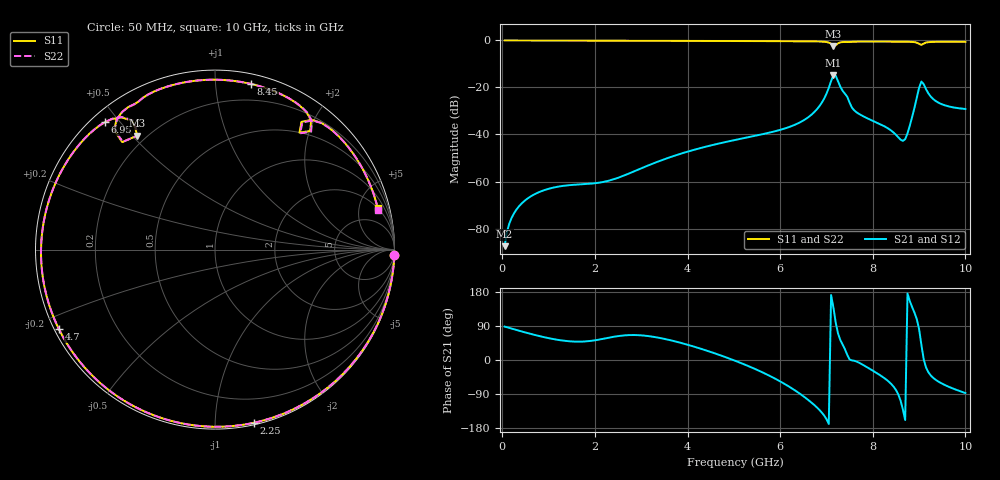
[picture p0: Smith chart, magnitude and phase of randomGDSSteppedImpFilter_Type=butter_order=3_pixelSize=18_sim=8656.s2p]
! freq	dB(S11)	phase(S11)	dB(S12)	phase(S12)
!  dB(S21)	phase(S21)	dB(S22)	phase(S22)
!S-par simulation data
#  GHz  S  DB  R 50
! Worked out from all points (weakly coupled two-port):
!   200 points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, 50 MHz to 10 GHz, reference 50 ohm
!   highest |S21| = -14.79 dB at 7.15 GHz (marker M1); lowest = -87.5 dB at 50 MHz (marker M2)
!   lowest |S11| = -2.3 dB at 7.15 GHz (marker M3), VSWR 7.63, Z = 8.35 + j25.9 ohm
!   |S11| at or under -10 dB: nowhere
!   |S22| runs from -2.3 to 0.0 dB; largest |S21 - S12| = 0
!   S11 on the Smith chart (normalised r, x): 50 MHz: 0, -63; 2.25 GHz: 0.01, -1.25; 4.7 GHz: 0.01, -0.24; 6.95 GHz: 0.04, +0.46; 8.45 GHz: 0.07, +1.24; 10 GHz: 2.04, +7.48
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0.05  -0.00 -1.8  -87.51 88.2  -87.51 88.2  -0.00 -1.8
0.35  -0.02 -12.5  -70.80 77.7  -70.80 77.7  -0.02 -12.5
0.65  -0.03 -23.1  -65.92 67.7  -65.92 67.7  -0.03 -23.1
1.75  -0.08 -61.0  -61.14 48.7  -61.14 48.7  -0.08 -61.0
2.25  -0.10 -77.4  -59.89 57.6  -59.89 57.6  -0.10 -77.5
3.4  -0.14 -113.7  -51.25 58.2  -51.25 58.2  -0.14 -113.7
4.7  -0.21 -153.1  -43.74 12.8  -43.74 12.8  -0.21 -153.2
5.05  -0.23 -163.8  -42.23 -3.0  -42.23 -3.0  -0.23 -163.9
6.15  -0.32 161.1  -37.13 -67.0  -37.13 -67.0  -0.32 160.9
6.7  -0.39 141.6  -31.16 -114.8  -31.16 -114.8  -0.40 141.3
6.95  -0.55 130.9  -24.73 -146.5  -24.73 -146.5  -0.56 130.6
7.15  -2.29 124.2  -14.79 138.6  -14.79 138.6  -2.30 123.9
7.25  -1.21 130.2  -17.41 69.9  -17.41 69.9  -1.22 130.0
7.6  -0.53 113.4  -29.75 -2.0  -29.75 -2.0  -0.53 113.1
8.35  -0.49 81.9  -37.67 -57.6  -37.67 -57.6  -0.49 81.5
8.45  -0.50 77.6  -39.18 -70.4  -39.18 -70.4  -0.50 77.3
8.7  -0.54 66.6  -42.00 -158.4  -42.00 -158.4  -0.54 66.2
8.95  -0.93 53.4  -24.49 107.9  -24.49 107.9  -0.94 53.0
9.05  -1.90 54.2  -17.48 39.9  -17.48 39.9  -1.90 53.8
9.15  -0.90 53.3  -20.74 -19.8  -20.74 -19.8  -0.90 52.9
9.4  -0.57 40.3  -26.26 -55.7  -26.26 -55.7  -0.57 39.9
10  -0.58 14.2  -29.15 -87.3  -29.15 -87.3  -0.58 13.8
